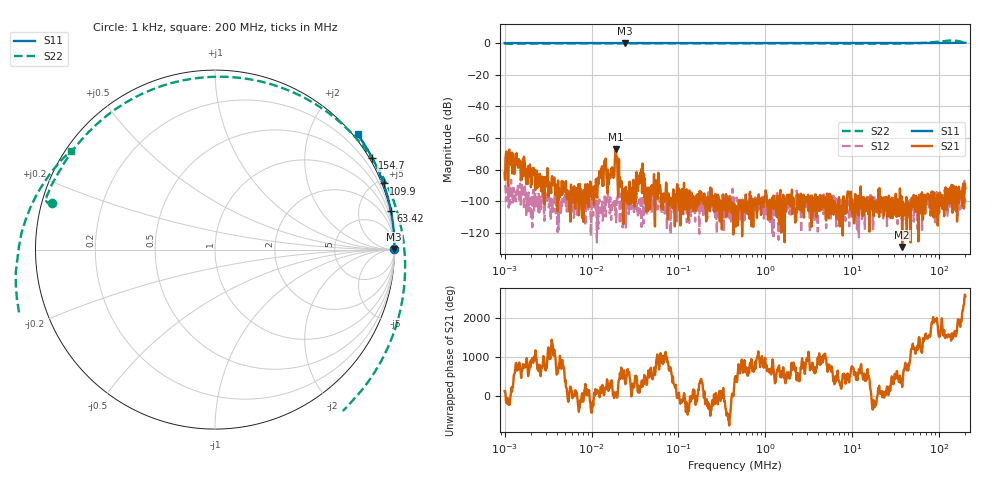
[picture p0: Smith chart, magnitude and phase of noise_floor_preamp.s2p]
! ListType=Log
# MHZ S RI R 50
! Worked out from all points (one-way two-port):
!   1000 points, 1 kHz to 200 MHz, reference 50 ohm
!   highest |S21| = -66.84 dB at 19 kHz (marker M1); lowest = -128.9 dB at 37.5 MHz (marker M2)
!   lowest |S11| = 0.0 dB at 23.97 kHz (marker M3), VSWR 686.54, Z = 1.69e+04 + j1.72e+04 ohm
!   |S11| at or under -10 dB: nowhere
!   |S22| runs from -0.5 to 1.7 dB; largest |S21 - S12| = 0.00046
!   S11 on the Smith chart (normalised r, x): 1 kHz: open; 63.42 MHz: -0.17, +9.21; 109.9 MHz: -0.14, +5.29; 154.7 MHz: -0.11, +3.71; 200 MHz: -0.10, +2.82
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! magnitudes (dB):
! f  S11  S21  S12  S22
! 1 kHz  0.0  -82.0  -89.9  -0.5
! 1.089 kHz  0.0  -88.7  -93.9  -0.5
! 1.158 kHz  0.0  -75.7  -101.9  -0.5
! 1.187 kHz  0.0  -77.2  -86.4  -0.5
! 2.107 kHz  0.0  -79.0  -99.2  -0.3
! 7.694 kHz  0.0  -98.5  -101.3  -0.2
! 13.01 kHz  0.0  -84.9  -106.3  -0.1
! 13.83 kHz  0.0  -80.7  -105.7  -0.1
! 17.23 kHz  0.0  -78.5  -102.4  -0.1
! 19 kHz  0.0  -66.8  -104.6  -0.1
! 19.71 kHz  0.0  -72.0  -95.6  -0.1
! 21.21 kHz  0.0  -85.0  -114.4  -0.1
! 23.97 kHz  0.0  -92.0  -107.1  -0.1
! 58.48 kHz  0.0  -82.0  -102.4  -0.1
! 450 kHz  0.0  -108.1  -102.7  -0.2
! 3.42 MHz  0.0  -96.4  -102.6  -0.2
! 26.31 MHz  0.0  -96.4  -106.0  -0.4
! 37.5 MHz  0.0  -128.9  -105.8  -0.3
! 63.42 MHz  0.0  -94.3  -119.0  0.0
! 109.9 MHz  0.1  -100.2  -100.1  1.2
! 154.7 MHz  0.1  -105.9  -97.1  1.5
! 200 MHz  0.2  -91.8  -96.8  -0.2
